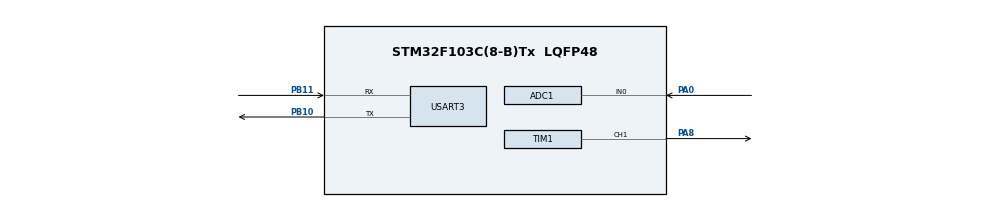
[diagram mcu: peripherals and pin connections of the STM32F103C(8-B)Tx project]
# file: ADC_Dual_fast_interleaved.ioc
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ADC1.Channel-0\#ChannelRegularConversion=ADC_CHANNEL_0
ADC1.ContinuousConvMode=ENABLE
ADC1.Mode=ADC_DUALMODE_INTERLFAST
ADC1.NbrOfConversionFlag=1
ADC1.Rank-0\#ChannelRegularConversion=1
ADC1.SamplingTime-0\#ChannelRegularConversion=ADC_SAMPLETIME_1CYCLE_5
ADC1.master=1
ADC2.Channel-2\#ChannelRegularConversion=ADC_CHANNEL_0
ADC2.ContinuousConvMode=ENABLE
ADC2.Mode=ADC_DUALMODE_INTERLFAST
ADC2.NbrOfConversionFlag=1
ADC2.Rank-2\#ChannelRegularConversion=1
ADC2.SamplingTime-2\#ChannelRegularConversion=ADC_SAMPLETIME_1CYCLE_5
Dma.ADC1.0.Direction=DMA_PERIPH_TO_MEMORY
Dma.ADC1.0.Instance=DMA1_Channel1
Dma.ADC1.0.MemDataAlignment=DMA_MDATAALIGN_WORD
Dma.ADC1.0.MemInc=DMA_MINC_ENABLE
Dma.ADC1.0.Mode=DMA_NORMAL
Dma.ADC1.0.PeriphDataAlignment=DMA_PDATAALIGN_WORD
Dma.ADC1.0.PeriphInc=DMA_PINC_DISABLE
Dma.ADC1.0.Priority=DMA_PRIORITY_MEDIUM
Dma.Request0=ADC1
Mcu.Family=STM32F1
Mcu.Name=STM32F103C(8-B)Tx
Mcu.Package=LQFP48
NVIC.DMA1_Channel1_IRQn=true\:0\:0\:false\:false\:true\:false\:true
NVIC.PriorityGroup=NVIC_PRIORITYGROUP_4
PA0-WKUP.Signal=ADCx_IN0
PA13.Mode=Serial_Wire
PA13.Signal=SYS_JTMS-SWDIO
PA14.Mode=Serial_Wire
PA14.Signal=SYS_JTCK-SWCLK
PA8.Signal=S_TIM1_CH1
PB10.Mode=Asynchronous
PB10.Signal=USART3_TX
PB11.Mode=Asynchronous
PB11.Signal=USART3_RX
PD0-OSC_IN.Mode=HSE-External-Oscillator
PD0-OSC_IN.Signal=RCC_OSC_IN
PD1-OSC_OUT.Mode=HSE-External-Oscillator
PD1-OSC_OUT.Signal=RCC_OSC_OUT
ProjectManager.HeapSize=0x200
ProjectManager.StackSize=0x400
ProjectManager.TargetToolchain=MDK-ARM V5.27
RCC.ADCPresc=RCC_ADCPCLK2_DIV6
RCC.AHBFreq_Value=72000000
RCC.APB1CLKDivider=RCC_HCLK_DIV2
RCC.APB1Freq_Value=36000000
RCC.APB1TimFreq_Value=72000000
RCC.APB2Freq_Value=72000000
RCC.APB2TimFreq_Value=72000000
RCC.HCLKFreq_Value=72000000
RCC.PLLMUL=RCC_PLL_MUL9
RCC.PLLSourceVirtual=RCC_PLLSOURCE_HSE
RCC.SYSCLKFreq_VALUE=72000000
RCC.SYSCLKSource=RCC_SYSCLKSOURCE_PLLCLK
RCC.USBFreq_Value=72000000
SH.ADCx_IN0.0=ADC1_IN0,IN0
SH.ADCx_IN0.1=ADC2_IN0,IN0
SH.S_TIM1_CH1.0=TIM1_CH1,PWM Generation1 CH1
TIM1.Channel-PWM\ Generation1\ CH1=TIM_CHANNEL_1
TIM1.Period=19
TIM1.Prescaler=3
USART3.VirtualMode=VM_ASYNC
VP_TIM1_VS_ClockSourceINT.Mode=Internal
VP_TIM2_VS_ClockSourceINT.Mode=Internal
board=custom

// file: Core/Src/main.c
/* USER CODE BEGIN Header */
/**
  ******************************************************************************
  * @file           : main.c
  * @brief          : Main program body
  ******************************************************************************
  * @attention
  *
  * <h2><center>&copy; Copyright (c) 2021 STMicroelectronics.
  * All rights reserved.</center></h2>
  *
  * This software component is licensed by ST under BSD 3-Clause license,
  * the "License"; You may not use this file except in compliance with the
  * License. You may obtain a copy of the License at:
  *                        opensource.org/licenses/BSD-3-Clause
  *
  ******************************************************************************
  */
/* USER CODE END Header */
#include "main.h"

/* USER CODE BEGIN Includes */
#include "stdio.h"
/* USER CODE END Includes */

/* USER CODE BEGIN PD */
#define ARRAYSIZE (uint32_t) 100
/* USER CODE END PD */

/* USER CODE BEGIN PV */
uint32_t adc_read[ARRAYSIZE];
/* USER CODE END PV */

void SystemClock_Config(void);
static void MX_GPIO_Init(void);
static void MX_DMA_Init(void);
static void MX_ADC1_Init(void);
static void MX_TIM1_Init(void);
static void MX_TIM2_Init(void);
static void MX_USART3_UART_Init(void);
static void MX_ADC2_Init(void);

int main(void)
{

  /* MCU Configuration--------------------------------------------------------*/

  /* Reset of all peripherals, Initializes the Flash interface and the Systick. */

  LL_APB2_GRP1_EnableClock(LL_APB2_GRP1_PERIPH_AFIO);
  LL_APB1_GRP1_EnableClock(LL_APB1_GRP1_PERIPH_PWR);

  NVIC_SetPriorityGrouping(NVIC_PRIORITYGROUP_4);

  /* System interrupt init*/

  /** NOJTAG: JTAG-DP Disabled and SW-DP Enabled
  */
  LL_GPIO_AF_Remap_SWJ_NOJTAG();

  /* Configure the system clock */
  SystemClock_Config();

  /* Initialize all configured peripherals */
  MX_GPIO_Init();
  MX_DMA_Init();
  MX_ADC1_Init();
  MX_TIM1_Init();
  MX_TIM2_Init();
  MX_USART3_UART_Init();
  MX_ADC2_Init();
  /* USER CODE BEGIN 2 */

	////ADC	configuration

		LL_ADC_Enable(ADC1);

	LL_ADC_StartCalibration(ADC1); 				//Calibration start
    while(LL_ADC_IsCalibrationOnGoing(ADC1)) 	//Calibration Done?
		__NOP();

	LL_ADC_REG_StartConversionSWStart(ADC1);

		LL_ADC_Enable(ADC2);

	LL_ADC_StartCalibration(ADC2); 				//Calibration start
    while(LL_ADC_IsCalibrationOnGoing(ADC2)) 	//Calibration Done?
		__NOP();

	LL_ADC_REG_StartConversionSWStart(ADC2);

	////

	////DMA Configuration

  LL_DMA_ConfigAddresses(DMA1,
                         LL_DMA_CHANNEL_1,
                         LL_ADC_DMA_GetRegAddr(ADC1, LL_ADC_DMA_REG_REGULAR_DATA),
                         (uint32_t)adc_read,										//Address of the first element of the memory buffer
                         LL_DMA_DIRECTION_PERIPH_TO_MEMORY);

	LL_DMA_SetDataLength(DMA1,
                       LL_DMA_CHANNEL_1,
											 ARRAYSIZE);

	LL_DMA_EnableIT_TC(DMA1,
										 LL_DMA_CHANNEL_1);

  LL_DMA_EnableChannel(DMA1,
                       LL_DMA_CHANNEL_1);

	////Timers configuration
	LL_TIM_EnableCounter(TIM1);																								//Enable Timer1's counter
	LL_TIM_CC_EnableChannel(TIM1, LL_TIM_CHANNEL_CH1);												//Enable channel1 of Timer1(PWM)
	LL_TIM_EnableAllOutputs(TIM1);																						//Enable Timer1's outputs
	LL_TIM_OC_SetCompareCH1(TIM1, (LL_TIM_GetAutoReload(TIM1) + 1) / 2);			//Set Duty cycle

	LL_TIM_EnableCounter(TIM2);																								//Enable Timer2's counter

	///////////

	/* send array through usart_tx to serial plotter */
		for(int i = 0; i < ARRAYSIZE; i++)
	{
		printf("%d\r\n",  0x0000FFFF & adc_read[i]);
		printf("%6.0f\r\n",  (float)((0xFFFF0000 & adc_read[i]) / 65535));
//	printf("%d\r\n", adc_read[i]);
	}
  /* USER CODE END 2 */

  /* Infinite loop */
  while (1)
  {

  }
}

void SystemClock_Config(void)
{
  LL_FLASH_SetLatency(LL_FLASH_LATENCY_2);
  while(LL_FLASH_GetLatency()!= LL_FLASH_LATENCY_2)
  {
  }
  LL_RCC_HSE_Enable();

   /* Wait till HSE is ready */
  while(LL_RCC_HSE_IsReady() != 1)
  {

  }
  LL_RCC_PLL_ConfigDomain_SYS(LL_RCC_PLLSOURCE_HSE_DIV_1, LL_RCC_PLL_MUL_9);
  LL_RCC_PLL_Enable();

   /* Wait till PLL is ready */
  while(LL_RCC_PLL_IsReady() != 1)
  {

  }
  LL_RCC_SetAHBPrescaler(LL_RCC_SYSCLK_DIV_1);
  LL_RCC_SetAPB1Prescaler(LL_RCC_APB1_DIV_2);
  LL_RCC_SetAPB2Prescaler(LL_RCC_APB2_DIV_1);
  LL_RCC_SetSysClkSource(LL_RCC_SYS_CLKSOURCE_PLL);

   /* Wait till System clock is ready */
  while(LL_RCC_GetSysClkSource() != LL_RCC_SYS_CLKSOURCE_STATUS_PLL)
  {

  }
  LL_Init1msTick(72000000);
  LL_SetSystemCoreClock(72000000);
  LL_RCC_SetADCClockSource(LL_RCC_ADC_CLKSRC_PCLK2_DIV_6);
}

static void MX_ADC1_Init(void)
{

  LL_ADC_InitTypeDef ADC_InitStruct = {0};
  LL_ADC_CommonInitTypeDef ADC_CommonInitStruct = {0};
  LL_ADC_REG_InitTypeDef ADC_REG_InitStruct = {0};

  LL_GPIO_InitTypeDef GPIO_InitStruct = {0};

  /* Peripheral clock enable */
  LL_APB2_GRP1_EnableClock(LL_APB2_GRP1_PERIPH_ADC1);

  LL_APB2_GRP1_EnableClock(LL_APB2_GRP1_PERIPH_GPIOA);
  /**ADC1 GPIO Configuration
  PA0-WKUP   ------> ADC1_IN0
  */
  GPIO_InitStruct.Pin = LL_GPIO_PIN_0;
  GPIO_InitStruct.Mode = LL_GPIO_MODE_ANALOG;
  LL_GPIO_Init(GPIOA, &GPIO_InitStruct);

  /* ADC1 DMA Init */

  /* ADC1 Init */
  LL_DMA_SetDataTransferDirection(DMA1, LL_DMA_CHANNEL_1, LL_DMA_DIRECTION_PERIPH_TO_MEMORY);

  LL_DMA_SetChannelPriorityLevel(DMA1, LL_DMA_CHANNEL_1, LL_DMA_PRIORITY_MEDIUM);

  LL_DMA_SetMode(DMA1, LL_DMA_CHANNEL_1, LL_DMA_MODE_NORMAL);

  LL_DMA_SetPeriphIncMode(DMA1, LL_DMA_CHANNEL_1, LL_DMA_PERIPH_NOINCREMENT);

  LL_DMA_SetMemoryIncMode(DMA1, LL_DMA_CHANNEL_1, LL_DMA_MEMORY_INCREMENT);

  LL_DMA_SetPeriphSize(DMA1, LL_DMA_CHANNEL_1, LL_DMA_PDATAALIGN_WORD);

  LL_DMA_SetMemorySize(DMA1, LL_DMA_CHANNEL_1, LL_DMA_MDATAALIGN_WORD);

  /** Common config
  */
  ADC_InitStruct.DataAlignment = LL_ADC_DATA_ALIGN_RIGHT;
  ADC_InitStruct.SequencersScanMode = LL_ADC_SEQ_SCAN_DISABLE;
  LL_ADC_Init(ADC1, &ADC_InitStruct);
  ADC_CommonInitStruct.Multimode = LL_ADC_MULTI_DUAL_REG_INTERL_FAST;
  LL_ADC_CommonInit(__LL_ADC_COMMON_INSTANCE(ADC1), &ADC_CommonInitStruct);
  ADC_REG_InitStruct.TriggerSource = LL_ADC_REG_TRIG_SOFTWARE;
  ADC_REG_InitStruct.SequencerLength = LL_ADC_REG_SEQ_SCAN_DISABLE;
  ADC_REG_InitStruct.SequencerDiscont = LL_ADC_REG_SEQ_DISCONT_DISABLE;
  ADC_REG_InitStruct.ContinuousMode = LL_ADC_REG_CONV_CONTINUOUS;
  ADC_REG_InitStruct.DMATransfer = LL_ADC_REG_DMA_TRANSFER_UNLIMITED;
  LL_ADC_REG_Init(ADC1, &ADC_REG_InitStruct);
  /** Configure Regular Channel
  */
  LL_ADC_REG_SetSequencerRanks(ADC1, LL_ADC_REG_RANK_1, LL_ADC_CHANNEL_0);
  LL_ADC_SetChannelSamplingTime(ADC1, LL_ADC_CHANNEL_0, LL_ADC_SAMPLINGTIME_1CYCLE_5);

}

static void MX_ADC2_Init(void)
{

  LL_ADC_InitTypeDef ADC_InitStruct = {0};
  LL_ADC_REG_InitTypeDef ADC_REG_InitStruct = {0};

  LL_GPIO_InitTypeDef GPIO_InitStruct = {0};

  /* Peripheral clock enable */
  LL_APB2_GRP1_EnableClock(LL_APB2_GRP1_PERIPH_ADC2);

  LL_APB2_GRP1_EnableClock(LL_APB2_GRP1_PERIPH_GPIOA);
  /**ADC2 GPIO Configuration
  PA0-WKUP   ------> ADC2_IN0
  */
  GPIO_InitStruct.Pin = LL_GPIO_PIN_0;
  GPIO_InitStruct.Mode = LL_GPIO_MODE_ANALOG;
  LL_GPIO_Init(GPIOA, &GPIO_InitStruct);

  /** Common config
  */
  ADC_InitStruct.DataAlignment = LL_ADC_DATA_ALIGN_RIGHT;
  ADC_InitStruct.SequencersScanMode = LL_ADC_SEQ_SCAN_DISABLE;
  LL_ADC_Init(ADC2, &ADC_InitStruct);
  ADC_REG_InitStruct.TriggerSource = LL_ADC_REG_TRIG_SOFTWARE;
  ADC_REG_InitStruct.SequencerLength = LL_ADC_REG_SEQ_SCAN_DISABLE;
  ADC_REG_InitStruct.SequencerDiscont = LL_ADC_REG_SEQ_DISCONT_DISABLE;
  ADC_REG_InitStruct.ContinuousMode = LL_ADC_REG_CONV_CONTINUOUS;
  ADC_REG_InitStruct.DMATransfer = LL_ADC_REG_DMA_TRANSFER_NONE;
  LL_ADC_REG_Init(ADC2, &ADC_REG_InitStruct);
  /** Configure Regular Channel
  */
  LL_ADC_REG_SetSequencerRanks(ADC2, LL_ADC_REG_RANK_1, LL_ADC_CHANNEL_0);
  LL_ADC_SetChannelSamplingTime(ADC2, LL_ADC_CHANNEL_0, LL_ADC_SAMPLINGTIME_1CYCLE_5);

}

static void MX_TIM1_Init(void)
{

  LL_TIM_InitTypeDef TIM_InitStruct = {0};
  LL_TIM_OC_InitTypeDef TIM_OC_InitStruct = {0};
  LL_TIM_BDTR_InitTypeDef TIM_BDTRInitStruct = {0};

  LL_GPIO_InitTypeDef GPIO_InitStruct = {0};

  /* Peripheral clock enable */
  LL_APB2_GRP1_EnableClock(LL_APB2_GRP1_PERIPH_TIM1);

  TIM_InitStruct.Prescaler = 3;
  TIM_InitStruct.CounterMode = LL_TIM_COUNTERMODE_UP;
  TIM_InitStruct.Autoreload = 19;
  TIM_InitStruct.ClockDivision = LL_TIM_CLOCKDIVISION_DIV1;
  TIM_InitStruct.RepetitionCounter = 0;
  LL_TIM_Init(TIM1, &TIM_InitStruct);
  LL_TIM_DisableARRPreload(TIM1);
  LL_TIM_SetClockSource(TIM1, LL_TIM_CLOCKSOURCE_INTERNAL);
  LL_TIM_OC_EnablePreload(TIM1, LL_TIM_CHANNEL_CH1);
  TIM_OC_InitStruct.OCMode = LL_TIM_OCMODE_PWM1;
  TIM_OC_InitStruct.OCState = LL_TIM_OCSTATE_DISABLE;
  TIM_OC_InitStruct.OCNState = LL_TIM_OCSTATE_DISABLE;
  TIM_OC_InitStruct.CompareValue = 0;
  TIM_OC_InitStruct.OCPolarity = LL_TIM_OCPOLARITY_HIGH;
  TIM_OC_InitStruct.OCNPolarity = LL_TIM_OCPOLARITY_HIGH;
  TIM_OC_InitStruct.OCIdleState = LL_TIM_OCIDLESTATE_LOW;
  TIM_OC_InitStruct.OCNIdleState = LL_TIM_OCIDLESTATE_LOW;
  LL_TIM_OC_Init(TIM1, LL_TIM_CHANNEL_CH1, &TIM_OC_InitStruct);
  LL_TIM_OC_DisableFast(TIM1, LL_TIM_CHANNEL_CH1);
  LL_TIM_SetTriggerOutput(TIM1, LL_TIM_TRGO_RESET);
  LL_TIM_DisableMasterSlaveMode(TIM1);
  TIM_BDTRInitStruct.OSSRState = LL_TIM_OSSR_DISABLE;
  TIM_BDTRInitStruct.OSSIState = LL_TIM_OSSI_DISABLE;
  TIM_BDTRInitStruct.LockLevel = LL_TIM_LOCKLEVEL_OFF;
  TIM_BDTRInitStruct.DeadTime = 0;
  TIM_BDTRInitStruct.BreakState = LL_TIM_BREAK_DISABLE;
  TIM_BDTRInitStruct.BreakPolarity = LL_TIM_BREAK_POLARITY_HIGH;
  TIM_BDTRInitStruct.AutomaticOutput = LL_TIM_AUTOMATICOUTPUT_DISABLE;
  LL_TIM_BDTR_Init(TIM1, &TIM_BDTRInitStruct);
  LL_APB2_GRP1_EnableClock(LL_APB2_GRP1_PERIPH_GPIOA);
  /**TIM1 GPIO Configuration
  PA8   ------> TIM1_CH1
  */
  GPIO_InitStruct.Pin = LL_GPIO_PIN_8;
  GPIO_InitStruct.Mode = LL_GPIO_MODE_ALTERNATE;
  GPIO_InitStruct.Speed = LL_GPIO_SPEED_FREQ_LOW;
  GPIO_InitStruct.OutputType = LL_GPIO_OUTPUT_PUSHPULL;
  LL_GPIO_Init(GPIOA, &GPIO_InitStruct);

}

static void MX_TIM2_Init(void)
{

  LL_TIM_InitTypeDef TIM_InitStruct = {0};

  /* Peripheral clock enable */
  LL_APB1_GRP1_EnableClock(LL_APB1_GRP1_PERIPH_TIM2);

  TIM_InitStruct.Prescaler = 0;
  TIM_InitStruct.CounterMode = LL_TIM_COUNTERMODE_UP;
  TIM_InitStruct.Autoreload = 65535;
  TIM_InitStruct.ClockDivision = LL_TIM_CLOCKDIVISION_DIV1;
  LL_TIM_Init(TIM2, &TIM_InitStruct);
  LL_TIM_DisableARRPreload(TIM2);
  LL_TIM_SetClockSource(TIM2, LL_TIM_CLOCKSOURCE_INTERNAL);
  LL_TIM_SetTriggerOutput(TIM2, LL_TIM_TRGO_RESET);
  LL_TIM_DisableMasterSlaveMode(TIM2);

}

static void MX_USART3_UART_Init(void)
{

  LL_USART_InitTypeDef USART_InitStruct = {0};

  LL_GPIO_InitTypeDef GPIO_InitStruct = {0};

  /* Peripheral clock enable */
  LL_APB1_GRP1_EnableClock(LL_APB1_GRP1_PERIPH_USART3);

  LL_APB2_GRP1_EnableClock(LL_APB2_GRP1_PERIPH_GPIOB);
  /**USART3 GPIO Configuration
  PB10   ------> USART3_TX
  PB11   ------> USART3_RX
  */
  GPIO_InitStruct.Pin = LL_GPIO_PIN_10;
  GPIO_InitStruct.Mode = LL_GPIO_MODE_ALTERNATE;
  GPIO_InitStruct.Speed = LL_GPIO_SPEED_FREQ_HIGH;
  GPIO_InitStruct.OutputType = LL_GPIO_OUTPUT_PUSHPULL;
  LL_GPIO_Init(GPIOB, &GPIO_InitStruct);

  GPIO_InitStruct.Pin = LL_GPIO_PIN_11;
  GPIO_InitStruct.Mode = LL_GPIO_MODE_FLOATING;
  LL_GPIO_Init(GPIOB, &GPIO_InitStruct);

  USART_InitStruct.BaudRate = 115200;
  USART_InitStruct.DataWidth = LL_USART_DATAWIDTH_8B;
  USART_InitStruct.StopBits = LL_USART_STOPBITS_1;
  USART_InitStruct.Parity = LL_USART_PARITY_NONE;
  USART_InitStruct.TransferDirection = LL_USART_DIRECTION_TX_RX;
  USART_InitStruct.HardwareFlowControl = LL_USART_HWCONTROL_NONE;
  USART_InitStruct.OverSampling = LL_USART_OVERSAMPLING_16;
  LL_USART_Init(USART3, &USART_InitStruct);
  LL_USART_ConfigAsyncMode(USART3);
  LL_USART_Enable(USART3);

}

static void MX_DMA_Init(void)
{

  /* Init with LL driver */
  /* DMA controller clock enable */
  LL_AHB1_GRP1_EnableClock(LL_AHB1_GRP1_PERIPH_DMA1);

  /* DMA interrupt init */
  /* DMA1_Channel1_IRQn interrupt configuration */
  NVIC_SetPriority(DMA1_Channel1_IRQn, NVIC_EncodePriority(NVIC_GetPriorityGrouping(),0, 0));
  NVIC_EnableIRQ(DMA1_Channel1_IRQn);

}

static void MX_GPIO_Init(void)
{

  /* GPIO Ports Clock Enable */
  LL_APB2_GRP1_EnableClock(LL_APB2_GRP1_PERIPH_GPIOD);
  LL_APB2_GRP1_EnableClock(LL_APB2_GRP1_PERIPH_GPIOA);
  LL_APB2_GRP1_EnableClock(LL_APB2_GRP1_PERIPH_GPIOB);

}

void Error_Handler(void)
{
  __disable_irq();
  while (1)
  {
  }
}

/************************ (C) COPYRIGHT STMicroelectronics *****END OF FILE****/
